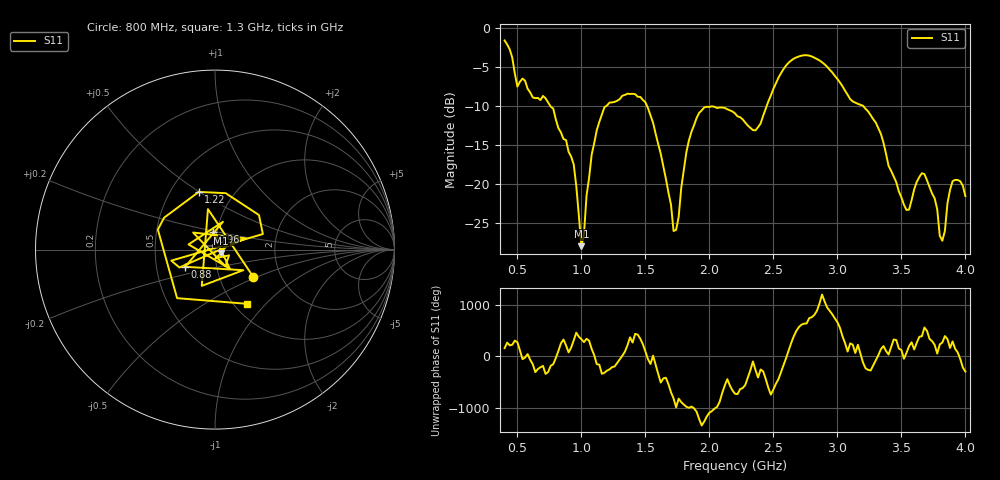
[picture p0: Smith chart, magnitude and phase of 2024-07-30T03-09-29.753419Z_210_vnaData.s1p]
!Created with skrf (http://scikit-rf.org).
# Hz S RI R 50.0
!freq ReS11 ImS11
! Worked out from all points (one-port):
!   181 points, 400 MHz to 4 GHz, reference 50 ohm
!   lowest |S11| = -28.0 dB at 1 GHz (marker M1), VSWR 1.08, Z = 53.5 - j2.15 ohm
!   |S11| at or under -10 dB: 758.2 MHz to 1.191 GHz (433.1 MHz wide, 44.4 % of centre); 1.514 GHz to 2.447 GHz (933.2 MHz wide, 47.1 % of centre); 3.203 GHz to end of sweep
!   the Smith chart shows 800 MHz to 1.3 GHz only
!   S11 on the Smith chart (normalised r, x): 800 MHz: 1.45, -0.47; 880 MHz: 0.70, -0.14; 960 MHz: 0.96, +0.19; 1.22 GHz: 0.69, +0.50; 1.3 GHz: 1.15, -0.79
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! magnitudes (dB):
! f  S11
! 400 MHz  -1.6
! 500 MHz  -7.5
! 800 MHz  -11.7
! 860 MHz  -14.2
! 880 MHz  -14.3
! 960 MHz  -20.3
! 1 GHz  -28.0
! 1.08 GHz  -16.2
! 1.22 GHz  -9.5
! 1.3 GHz  -9.1
! 1.5 GHz  -9.5
! 1.62 GHz  -16.1
! 1.72 GHz  -26.0
! 1.76 GHz  -24.2
! 1.82 GHz  -15.9
! 1.92 GHz  -10.8
! 2.2 GHz  -10.9
! 2.36 GHz  -13.1
! 2.66 GHz  -3.9
! 2.86 GHz  -4.1
! 3.1 GHz  -9.1
! 3.3 GHz  -12.1
! 3.56 GHz  -23.3
! 3.68 GHz  -18.7
! 3.76 GHz  -21.8
! 3.82 GHz  -27.3
! 3.9 GHz  -19.6
! 4 GHz  -21.5
